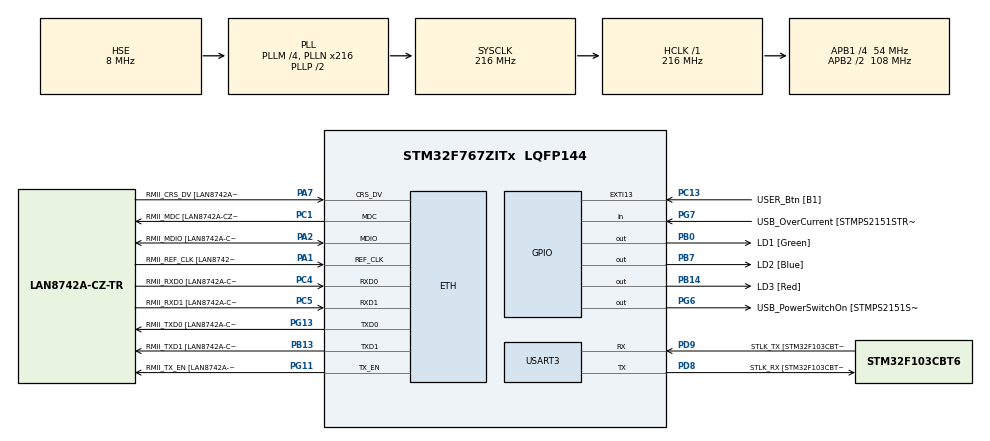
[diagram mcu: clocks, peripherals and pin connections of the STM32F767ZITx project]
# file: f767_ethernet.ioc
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ETH.MACAddr=02\:80\:E1\:00\:00\:00
ETH.MediaInterface=ETH_MEDIA_INTERFACE_RMII
ETH.PHY_ISFR_INT4=0x0010
ETH.PHY_Name_RMII=LAN8742A_PHY_ADDRESS
ETH.PhyAddress=0
FREERTOS.Tasks01=defaultTask,0,256,StartDefaultTask,Default,NULL,Dynamic,NULL,NULL;dhcpTask,-2,256,Start_DHCP_Task,Default,NULL,Dynamic,NULL,NULL
FREERTOS.configMINIMAL_STACK_SIZE=256
FREERTOS.configTOTAL_HEAP_SIZE=15360*2
LWIP.CMSIS_VERSION-Enabled=1
LWIP.GATEWAY_ADDRESS=192.168.001.001
LWIP.IP_ADDRESS=192.168.001.049
LWIP.LWIP_DHCP=0
LWIP.LWIP_DNS=1
LWIP.NETMASK_ADDRESS=255.255.255.000
LWIP.Version=v2.1.2_Cube
Mcu.Family=STM32F7
Mcu.Name=STM32F767ZITx
Mcu.Package=LQFP144
NVIC.ETH_IRQn=true\:7\:0\:true\:false\:true\:true\:true\:true
NVIC.PriorityGroup=NVIC_PRIORITYGROUP_4
NVIC.TIM6_DAC_IRQn=true\:0\:0\:false\:false\:true\:false\:false\:true
NVIC.TimeBase=TIM6_DAC_IRQn
NVIC.TimeBaseIP=TIM6
PA1.GPIO_Label=RMII_REF_CLK [LAN8742A-CZ-TR_REFCLK0]
PA1.Mode=RMII
PA1.Signal=ETH_REF_CLK
PA10.GPIO_Label=USB_ID
PA10.Signal=USB_OTG_FS_ID
PA11.GPIO_Label=USB_DM
PA11.Signal=USB_OTG_FS_DM
PA12.GPIO_Label=USB_DP
PA12.Signal=USB_OTG_FS_DP
PA13.GPIO_Label=TMS
PA13.Mode=Serial_Wire
PA13.Signal=SYS_JTMS-SWDIO
PA14.GPIO_Label=TCK
PA14.Mode=Serial_Wire
PA14.Signal=SYS_JTCK-SWCLK
PA2.GPIO_Label=RMII_MDIO [LAN8742A-CZ-TR_MDIO]
PA2.Mode=RMII
PA2.Signal=ETH_MDIO
PA7.GPIO_Label=RMII_CRS_DV [LAN8742A-CZ-TR_CRS_DV]
PA7.Mode=RMII
PA7.Signal=ETH_CRS_DV
PA8.GPIO_Label=USB_SOF [TP1]
PA8.Signal=USB_OTG_FS_SOF
PA9.GPIO_Label=USB_VBUS
PA9.Signal=USB_OTG_FS_VBUS
PB0.GPIO_Label=LD1 [Green]
PB0.Signal=GPIO_Output
PB13.GPIO_Label=RMII_TXD1 [LAN8742A-CZ-TR_TXD1]
PB13.Mode=RMII
PB13.Signal=ETH_TXD1
PB14.GPIO_Label=LD3 [Red]
PB14.Signal=GPIO_Output
PB3.GPIO_Label=SWO
PB3.Signal=SYS_JTDO-SWO
PB7.GPIO_Label=LD2 [Blue]
PB7.Signal=GPIO_Output
PC1.GPIO_Label=RMII_MDC [LAN8742A-CZ-TR_MDC]
PC1.Mode=RMII
PC1.Signal=ETH_MDC
PC13.GPIO_Label=USER_Btn [B1]
PC13.Signal=GPXTI13
PC14/OSC32_IN.Mode=LSE-External-Oscillator
PC14/OSC32_IN.Signal=RCC_OSC32_IN
PC15/OSC32_OUT.Mode=LSE-External-Oscillator
PC15/OSC32_OUT.Signal=RCC_OSC32_OUT
PC4.GPIO_Label=RMII_RXD0 [LAN8742A-CZ-TR_RXD0]
PC4.Mode=RMII
PC4.Signal=ETH_RXD0
PC5.GPIO_Label=RMII_RXD1 [LAN8742A-CZ-TR_RXD1]
PC5.Mode=RMII
PC5.Signal=ETH_RXD1
PD8.GPIO_Label=STLK_RX [STM32F103CBT6_PA3]
PD8.Mode=Asynchronous
PD8.Signal=USART3_TX
PD9.GPIO_Label=STLK_TX [STM32F103CBT6_PA2]
PD9.Mode=Asynchronous
PD9.Signal=USART3_RX
PG11.GPIO_Label=RMII_TX_EN [LAN8742A-CZ-TR_TXEN]
PG11.Mode=RMII
PG11.Signal=ETH_TX_EN
PG13.GPIO_Label=RMII_TXD0 [LAN8742A-CZ-TR_TXD0]
PG13.Mode=RMII
PG13.Signal=ETH_TXD0
PG6.GPIO_Label=USB_PowerSwitchOn [STMPS2151STR_EN]
PG6.Signal=GPIO_Output
PG7.GPIO_Label=USB_OverCurrent [STMPS2151STR_FAULT]
PG7.Signal=GPIO_Input
PH0/OSC_IN.GPIO_Label=MCO [STM32F103CBT6_PA8]
PH0/OSC_IN.Mode=HSE-External-Clock-Source
PH0/OSC_IN.Signal=RCC_OSC_IN
PH1/OSC_OUT.Mode=HSE-External-Clock-Source
PH1/OSC_OUT.Signal=RCC_OSC_OUT
ProjectManager.HeapSize=0x2000
ProjectManager.StackSize=0x4000
ProjectManager.TargetToolchain=STM32CubeIDE
RCC.48MHZClocksFreq_Value=24000000
RCC.AHBFreq_Value=216000000
RCC.APB1CLKDivider=RCC_HCLK_DIV4
RCC.APB1Freq_Value=54000000
RCC.APB1TimFreq_Value=108000000
RCC.APB2CLKDivider=RCC_HCLK_DIV2
RCC.APB2Freq_Value=108000000
RCC.APB2TimFreq_Value=216000000
RCC.CortexFreq_Value=216000000
RCC.HCLKFreq_Value=216000000
RCC.HSE_VALUE=8000000
RCC.HSI_VALUE=16000000
RCC.PLLM=4
RCC.PLLMUL=RCC_PLL_MUL9
RCC.PLLN=216
RCC.PLLQ=9
RCC.PLLSourceVirtual=RCC_PLLSOURCE_HSE
RCC.PRESCALERUSB=RCC_USBCLKSOURCE_PLL_DIV1_5
RCC.SYSCLKFreq_VALUE=216000000
RCC.SYSCLKSource=RCC_SYSCLKSOURCE_PLLCLK
RCC.SYSCLKSourceVirtual=RCC_SYSCLKSOURCE_PLLCLK
RCC.USBFreq_Value=48000000
RCC.VCOOutputFreq_Value=432000000
USART3.VirtualMode-Asynchronous=VM_ASYNC
VP_FREERTOS_VS_CMSIS_V1.Mode=CMSIS_V1
VP_LWIP_VS_Enabled.Mode=Enabled
VP_SYS_VS_tim6.Mode=TIM6
board=NUCLEO-F767ZI

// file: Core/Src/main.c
/* USER CODE BEGIN Header */
/**
 ******************************************************************************
 * @file           : main.c
 * @brief          : Main program body
 ******************************************************************************
 * @attention
 *
 * <h2><center>&copy; Copyright (c) 2021 STMicroelectronics.
 * All rights reserved.</center></h2>
 *
 * This software component is licensed by ST under BSD 3-Clause license,
 * the "License"; You may not use this file except in compliance with the
 * License. You may obtain a copy of the License at:
 *                        opensource.org/licenses/BSD-3-Clause
 *
 ******************************************************************************
 */
/* USER CODE END Header */
#include "main.h"
#include "cmsis_os.h"
#include "lwip.h"

/* USER CODE BEGIN Includes */
#include "html_webpage.h"
#include "tcp_server.h"
#include "tcp_client.h"
/* USER CODE END Includes */

/* USER CODE BEGIN PD */
#define WEBSERVER_THREAD_PRIO    ( tskIDLE_PRIORITY + 4 )
#define MAX_DHCP_TRIES  4
#define USE_DHCP 0

/* DHCP process states */
#define DHCP_OFF                   (uint8_t) 0
#define DHCP_START                 (uint8_t) 1
#define DHCP_WAIT_ADDRESS          (uint8_t) 2
#define DHCP_ADDRESS_ASSIGNED      (uint8_t) 3
#define DHCP_TIMEOUT               (uint8_t) 4
#define DHCP_LINK_DOWN             (uint8_t) 5

/* USER CODE END PD */

UART_HandleTypeDef huart3;

osThreadId defaultTaskHandle;
osThreadId dhcpTaskHandle;
/* USER CODE BEGIN PV */

__IO uint8_t DHCP_state = DHCP_OFF;
extern struct netif gnetif;

/* USER CODE END PV */

void SystemClock_Config(void);
static void MX_GPIO_Init(void);
static void MX_USART3_UART_Init(void);
void StartDefaultTask(void const * argument);
void Start_DHCP_Task(void const * argument);

/* USER CODE BEGIN PFP */
void ethernetif_notify_conn_changed(struct netif *netif);
/* USER CODE END PFP */

int main(void)
{

  /* MCU Configuration--------------------------------------------------------*/

  /* Reset of all peripherals, Initializes the Flash interface and the Systick. */
  HAL_Init();

  /* Configure the system clock */
  SystemClock_Config();

  /* Initialize all configured peripherals */
  MX_GPIO_Init();
  MX_USART3_UART_Init();

  /* Create the thread(s) */
  /* definition and creation of defaultTask */
  osThreadDef(defaultTask, StartDefaultTask, osPriorityNormal, 0, 256);
  defaultTaskHandle = osThreadCreate(osThread(defaultTask), NULL);

  /* definition and creation of dhcpTask */
  osThreadDef(dhcpTask, Start_DHCP_Task, osPriorityLow, 0, 256);
  dhcpTaskHandle = osThreadCreate(osThread(dhcpTask), NULL);

  /* Start scheduler */
  osKernelStart();

  /* We should never get here as control is now taken by the scheduler */
  /* Infinite loop */
	while (1) {

	}
}

void SystemClock_Config(void)
{
  RCC_OscInitTypeDef RCC_OscInitStruct = {0};
  RCC_ClkInitTypeDef RCC_ClkInitStruct = {0};
  RCC_PeriphCLKInitTypeDef PeriphClkInitStruct = {0};

  /** Configure LSE Drive Capability
  */
  HAL_PWR_EnableBkUpAccess();
  /** Configure the main internal regulator output voltage
  */
  __HAL_RCC_PWR_CLK_ENABLE();
  __HAL_PWR_VOLTAGESCALING_CONFIG(PWR_REGULATOR_VOLTAGE_SCALE1);
  /** Initializes the RCC Oscillators according to the specified parameters
  * in the RCC_OscInitTypeDef structure.
  */
  RCC_OscInitStruct.OscillatorType = RCC_OSCILLATORTYPE_HSE;
  RCC_OscInitStruct.HSEState = RCC_HSE_BYPASS;
  RCC_OscInitStruct.PLL.PLLState = RCC_PLL_ON;
  RCC_OscInitStruct.PLL.PLLSource = RCC_PLLSOURCE_HSE;
  RCC_OscInitStruct.PLL.PLLM = 4;
  RCC_OscInitStruct.PLL.PLLN = 216;
  RCC_OscInitStruct.PLL.PLLP = RCC_PLLP_DIV2;
  RCC_OscInitStruct.PLL.PLLQ = 9;
  if (HAL_RCC_OscConfig(&RCC_OscInitStruct) != HAL_OK)
  {
    Error_Handler();
  }
  /** Activate the Over-Drive mode
  */
  if (HAL_PWREx_EnableOverDrive() != HAL_OK)
  {
    Error_Handler();
  }
  /** Initializes the CPU, AHB and APB buses clocks
  */
  RCC_ClkInitStruct.ClockType = RCC_CLOCKTYPE_HCLK|RCC_CLOCKTYPE_SYSCLK
                              |RCC_CLOCKTYPE_PCLK1|RCC_CLOCKTYPE_PCLK2;
  RCC_ClkInitStruct.SYSCLKSource = RCC_SYSCLKSOURCE_PLLCLK;
  RCC_ClkInitStruct.AHBCLKDivider = RCC_SYSCLK_DIV1;
  RCC_ClkInitStruct.APB1CLKDivider = RCC_HCLK_DIV4;
  RCC_ClkInitStruct.APB2CLKDivider = RCC_HCLK_DIV2;

  if (HAL_RCC_ClockConfig(&RCC_ClkInitStruct, FLASH_LATENCY_7) != HAL_OK)
  {
    Error_Handler();
  }
  PeriphClkInitStruct.PeriphClockSelection = RCC_PERIPHCLK_USART3;
  PeriphClkInitStruct.Usart3ClockSelection = RCC_USART3CLKSOURCE_PCLK1;
  if (HAL_RCCEx_PeriphCLKConfig(&PeriphClkInitStruct) != HAL_OK)
  {
    Error_Handler();
  }
}

static void MX_USART3_UART_Init(void)
{

  huart3.Instance = USART3;
  huart3.Init.BaudRate = 115200;
  huart3.Init.WordLength = UART_WORDLENGTH_8B;
  huart3.Init.StopBits = UART_STOPBITS_1;
  huart3.Init.Parity = UART_PARITY_NONE;
  huart3.Init.Mode = UART_MODE_TX_RX;
  huart3.Init.HwFlowCtl = UART_HWCONTROL_NONE;
  huart3.Init.OverSampling = UART_OVERSAMPLING_16;
  huart3.Init.OneBitSampling = UART_ONE_BIT_SAMPLE_DISABLE;
  huart3.AdvancedInit.AdvFeatureInit = UART_ADVFEATURE_NO_INIT;
  if (HAL_UART_Init(&huart3) != HAL_OK)
  {
    Error_Handler();
  }

}

static void MX_GPIO_Init(void)
{
  GPIO_InitTypeDef GPIO_InitStruct = {0};

  /* GPIO Ports Clock Enable */
  __HAL_RCC_GPIOC_CLK_ENABLE();
  __HAL_RCC_GPIOH_CLK_ENABLE();
  __HAL_RCC_GPIOA_CLK_ENABLE();
  __HAL_RCC_GPIOB_CLK_ENABLE();
  __HAL_RCC_GPIOD_CLK_ENABLE();
  __HAL_RCC_GPIOG_CLK_ENABLE();

  /*Configure GPIO pin Output Level */
  HAL_GPIO_WritePin(GPIOB, LD1_Pin|LD3_Pin|LD2_Pin, GPIO_PIN_RESET);

  /*Configure GPIO pin Output Level */
  HAL_GPIO_WritePin(USB_PowerSwitchOn_GPIO_Port, USB_PowerSwitchOn_Pin, GPIO_PIN_RESET);

  /*Configure GPIO pin : USER_Btn_Pin */
  GPIO_InitStruct.Pin = USER_Btn_Pin;
  GPIO_InitStruct.Mode = GPIO_MODE_IT_RISING;
  GPIO_InitStruct.Pull = GPIO_NOPULL;
  HAL_GPIO_Init(USER_Btn_GPIO_Port, &GPIO_InitStruct);

  /*Configure GPIO pins : LD1_Pin LD3_Pin LD2_Pin */
  GPIO_InitStruct.Pin = LD1_Pin|LD3_Pin|LD2_Pin;
  GPIO_InitStruct.Mode = GPIO_MODE_OUTPUT_PP;
  GPIO_InitStruct.Pull = GPIO_NOPULL;
  GPIO_InitStruct.Speed = GPIO_SPEED_FREQ_LOW;
  HAL_GPIO_Init(GPIOB, &GPIO_InitStruct);

  /*Configure GPIO pin : USB_PowerSwitchOn_Pin */
  GPIO_InitStruct.Pin = USB_PowerSwitchOn_Pin;
  GPIO_InitStruct.Mode = GPIO_MODE_OUTPUT_PP;
  GPIO_InitStruct.Pull = GPIO_NOPULL;
  GPIO_InitStruct.Speed = GPIO_SPEED_FREQ_LOW;
  HAL_GPIO_Init(USB_PowerSwitchOn_GPIO_Port, &GPIO_InitStruct);

  /*Configure GPIO pin : USB_OverCurrent_Pin */
  GPIO_InitStruct.Pin = USB_OverCurrent_Pin;
  GPIO_InitStruct.Mode = GPIO_MODE_INPUT;
  GPIO_InitStruct.Pull = GPIO_NOPULL;
  HAL_GPIO_Init(USB_OverCurrent_GPIO_Port, &GPIO_InitStruct);

  /*Configure GPIO pins : USB_SOF_Pin USB_ID_Pin USB_DM_Pin USB_DP_Pin */
  GPIO_InitStruct.Pin = USB_SOF_Pin|USB_ID_Pin|USB_DM_Pin|USB_DP_Pin;
  GPIO_InitStruct.Mode = GPIO_MODE_AF_PP;
  GPIO_InitStruct.Pull = GPIO_NOPULL;
  GPIO_InitStruct.Speed = GPIO_SPEED_FREQ_VERY_HIGH;
  GPIO_InitStruct.Alternate = GPIO_AF10_OTG_FS;
  HAL_GPIO_Init(GPIOA, &GPIO_InitStruct);

  /*Configure GPIO pin : USB_VBUS_Pin */
  GPIO_InitStruct.Pin = USB_VBUS_Pin;
  GPIO_InitStruct.Mode = GPIO_MODE_INPUT;
  GPIO_InitStruct.Pull = GPIO_NOPULL;
  HAL_GPIO_Init(USB_VBUS_GPIO_Port, &GPIO_InitStruct);

}

/* USER CODE BEGIN 4 */
void ethernetif_notify_conn_changed(struct netif *netif) {
	if (netif_is_link_up(netif)) {
		DHCP_state = DHCP_START;
		netif_set_up(netif);
	} else {
		DHCP_state = DHCP_LINK_DOWN;
		netif_set_down(netif);
	}
}

/* USER CODE END 4 */

void StartDefaultTask(void const * argument)
{
  /* init code for LWIP */
  MX_LWIP_Init();
  /* USER CODE BEGIN 5 */

	if (netif_is_up(&gnetif))
		DHCP_state = DHCP_START;
	else
		DHCP_state = DHCP_LINK_DOWN;

	printf("aaadsadadad");

	http_server_netconn_init();
	tcp_server_init();
//	tcp_client_init();
	/* Infinite loop */
	for (;;) {
		osThreadTerminate(NULL);
	}
  /* USER CODE END 5 */
}

void Start_DHCP_Task(void const * argument)
{
  /* USER CODE BEGIN Start_DHCP_Task */
#if USE_DHCP
	struct netif *netif = (struct netif*) argument;
	ip_addr_t ipaddr;
	ip_addr_t netmask;
	ip_addr_t gw;
	struct dhcp *dhcp;

	/* Infinite loop */
	for (;;) {
//		HAL_GPIO_TogglePin(LD1_GPIO_Port, LD1_Pin);
//		osDelay(1000);
		switch (DHCP_state) {
		case DHCP_START :
			ip_addr_set_zero_ip4(&netif->ip_addr);
			ip_addr_set_zero_ip4(&netif->netmask);
			ip_addr_set_zero_ip4(&netif->gw);
			break;
		case DHCP_WAIT_ADDRESS :
			if (dhcp_supplied_address(netif))
				DHCP_state = DHCP_ADDRESS_ASSIGNED;
			else {
				dhcp = (struct dhcp*) netif_get_client_data(netif,
						LWIP_NETIF_CLIENT_DATA_INDEX_DHCP);

				/* DHCP timeout */
				if (dhcp->tries > MAX_DHCP_TRIES) {
					DHCP_state = DHCP_TIMEOUT;

					/* Stop DHCP */
					dhcp_stop(netif);

					/* Static address used */
					IP_ADDR4(&ipaddr, 192, 168, 1, 49);
					IP_ADDR4(&netmask, 255, 255, 255, 0);
					IP_ADDR4(&gw, 192, 168, 1, 1);
					netif_set_addr(netif, ip_2_ip4(&ipaddr), ip_2_ip4(&netmask),
							ip_2_ip4(&gw));
				}
			}
			break;
		case DHCP_LINK_DOWN :
			/* Stop DHCP */
			dhcp_stop(netif);
			DHCP_state = DHCP_OFF;
			break;
		default:
			break;
		}

		osDelay(250);
	}
#else
	for (;;) {
		osThreadTerminate(NULL);
	}
#endif
  /* USER CODE END Start_DHCP_Task */
}

 /**
  * @brief  Period elapsed callback in non blocking mode
  * @note   This function is called  when TIM6 interrupt took place, inside
  * HAL_TIM_IRQHandler(). It makes a direct call to HAL_IncTick() to increment
  * a global variable "uwTick" used as application time base.
  * @param  htim : TIM handle
  * @retval None
  */
void HAL_TIM_PeriodElapsedCallback(TIM_HandleTypeDef *htim)
{
  if (htim->Instance == TIM6) {
    HAL_IncTick();
  }
}

void Error_Handler(void)
{
	__disable_irq();
	while (1) {
	}
}

/************************ (C) COPYRIGHT STMicroelectronics *****END OF FILE****/
